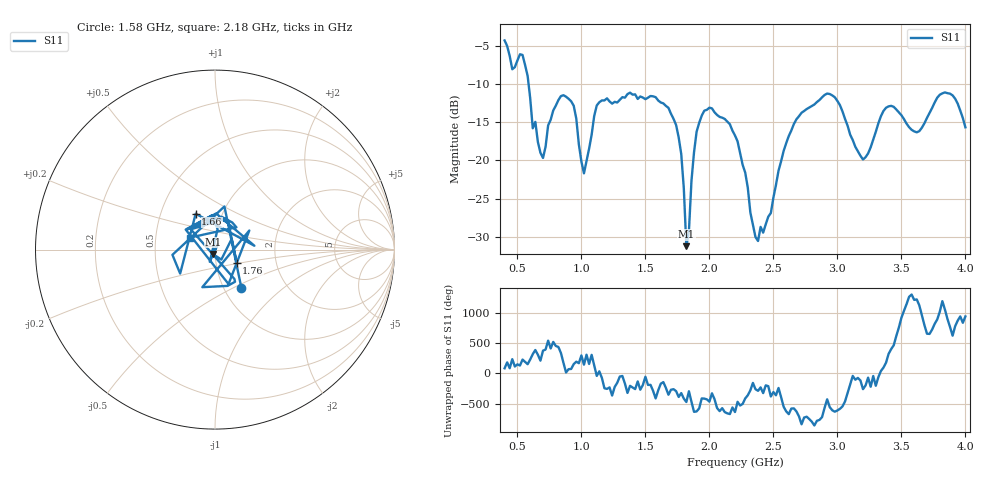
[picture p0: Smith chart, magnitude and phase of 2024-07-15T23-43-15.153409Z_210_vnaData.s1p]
!Created with skrf (http://scikit-rf.org).
# Hz S RI R 50.0
!freq ReS11 ImS11
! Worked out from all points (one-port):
!   181 points, 400 MHz to 4 GHz, reference 50 ohm
!   lowest |S11| = -31.2 dB at 1.82 GHz (marker M1), VSWR 1.06, Z = 48.8 - j2.44 ohm
!   |S11| at or under -10 dB: 587.1 MHz to end of sweep
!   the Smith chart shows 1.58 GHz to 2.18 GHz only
!   S11 on the Smith chart (normalised r, x): 1.58 GHz: 1.21, -0.55; 1.66 GHz: 0.75, +0.32; 1.76 GHz: 1.26, -0.19; 2.18 GHz: 0.75, +0.10
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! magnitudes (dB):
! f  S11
! 400 MHz  -4.3
! 460 MHz  -8.1
! 540 MHz  -6.2
! 620 MHz  -15.8
! 700 MHz  -19.7
! 860 MHz  -11.5
! 940 MHz  -12.9
! 1.02 GHz  -21.7
! 1.12 GHz  -12.8
! 1.3 GHz  -12.1
! 1.58 GHz  -11.7
! 1.66 GHz  -12.9
! 1.76 GHz  -17.0
! 1.8 GHz  -23.6
! 1.82 GHz  -31.2
! 1.88 GHz  -18.9
! 1.94 GHz  -14.2
! 2.18 GHz  -16.1
! 2.2 GHz  -16.7
! 2.38 GHz  -30.5
! 2.66 GHz  -15.2
! 2.94 GHz  -11.3
! 3.1 GHz  -16.6
! 3.2 GHz  -19.9
! 3.38 GHz  -13.1
! 3.56 GHz  -15.7
! 3.84 GHz  -11.1
! 4 GHz  -15.7
